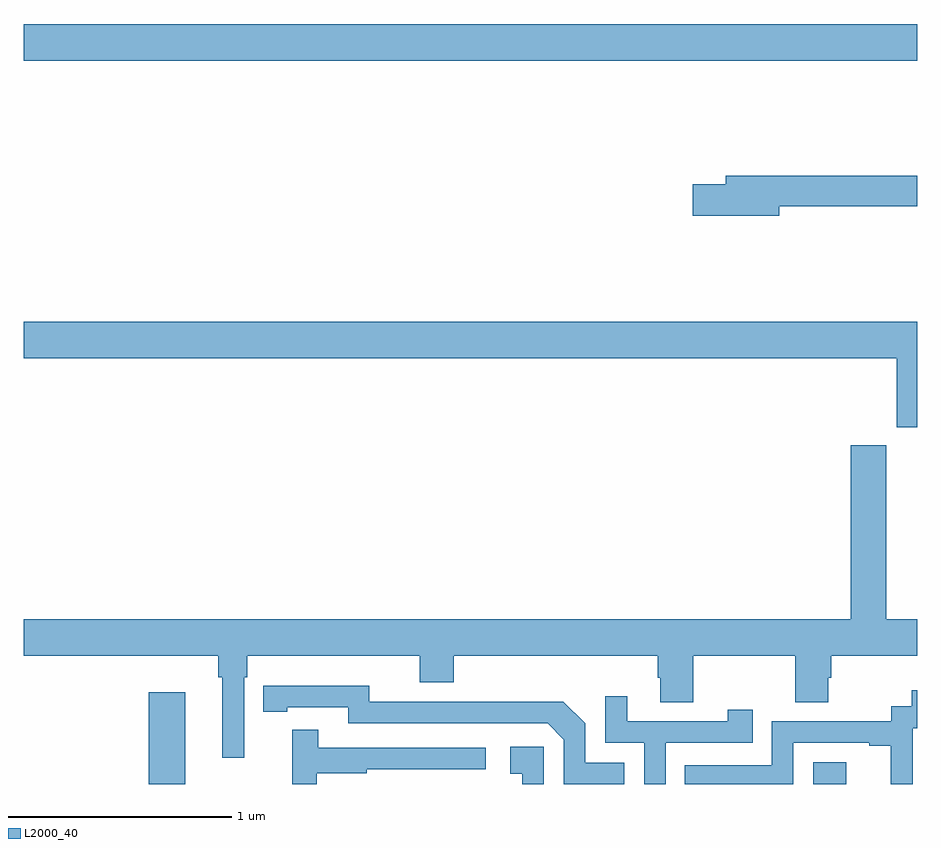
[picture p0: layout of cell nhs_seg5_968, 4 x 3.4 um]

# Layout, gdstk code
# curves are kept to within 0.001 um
import gdstk
lib = gdstk.Library(unit=1e-6, precision=1e-09)
def R(c, l, rs):  # rectangles x0, y0, x1, y1
    for r in rs: c.add(gdstk.rectangle(r[:2], r[2:], *l))
def P(c, l, *ps):  # polygons
    for p in ps: c.add(gdstk.Polygon(p, *l))
L2000_40 = (2000, 40)

nhs_seg5_968 = lib.new_cell('nhs_seg5_968')
R(nhs_seg5_968, L2000_40, [(171.56,910.799,171.724,911.209), (174.534,910.799,174.682,910.897), (171,914.036,175,914.2)])
P(nhs_seg5_968, L2000_40, [(174.382,913.384),(175,913.384),(175,913.52),(174.143,913.52),(174.143,913.484),(173.994,913.484),(173.994,913.342),(174.382,913.342)],
  [(175,912.868),(171,912.868),(171,912.704),(174.908,912.704),(174.908,912.395),(175,912.395)],
  [(171.987,911.276),(172.001,911.276),(172.001,911.372),(172.772,911.372),(172.772,911.255),(172.925,911.255),(172.925,911.372),(173.837,911.372),(173.837,911.274),(173.849,911.274),(173.849,911.164),(173.997,911.164),(173.997,911.372),(174.454,911.372),(174.454,911.164),(174.601,911.164),(174.601,911.274),(174.614,911.274),(174.614,911.372),(175,911.372),(175,911.536),(174.861,911.536),(174.861,912.316),(174.701,912.316),(174.701,911.536),(171,911.536),(171,911.372),(171.871,911.372),(171.871,911.276),(171.89,911.276),(171.89,910.917),(171.987,910.917)],
  [(173.688,910.893),(173.514,910.893),(173.514,911.07),(173.416,911.168),(173.008,911.168),(173.008,911.166),(172.548,911.166),(172.548,911.239),(172.072,911.238),(172.072,911.122),(172.18,911.122),(172.18,911.142),(172.452,911.142),(172.452,911.07),(173.346,911.07),(173.418,910.998),(173.418,910.799),(173.688,910.799)],
  [(174.444,910.983),(174.785,910.983),(174.785,910.971),(174.881,910.971),(174.881,910.799),(174.98,910.799),(174.98,910.82),(174.978,910.82),(174.978,911.049),(175,911.049),(175,911.218),(174.975,911.218),(174.975,911.148),(174.882,911.148),(174.882,911.079),(174.348,911.079),(174.348,910.884),(173.959,910.884),(173.959,910.799),(174.444,910.799)],
  [(173.874,910.983),(174.263,910.983),(174.263,911.131),(174.152,911.131),(174.152,911.079),(173.701,911.079),(173.701,911.191),(173.604,911.191),(173.604,910.983),(173.778,910.983),(173.778,910.799),(173.874,910.799)],
  [(172.312,910.846),(172.535,910.846),(172.535,910.866),(173.068,910.866),(173.068,910.962),(172.319,910.962),(172.319,911.041),(172.202,911.041),(172.202,910.799),(172.312,910.799)],
  [(173.328,910.966),(173.178,910.966),(173.178,910.845),(173.231,910.845),(173.231,910.799),(173.328,910.799)])

lib.write_gds('nhs_seg5_968.gds')
